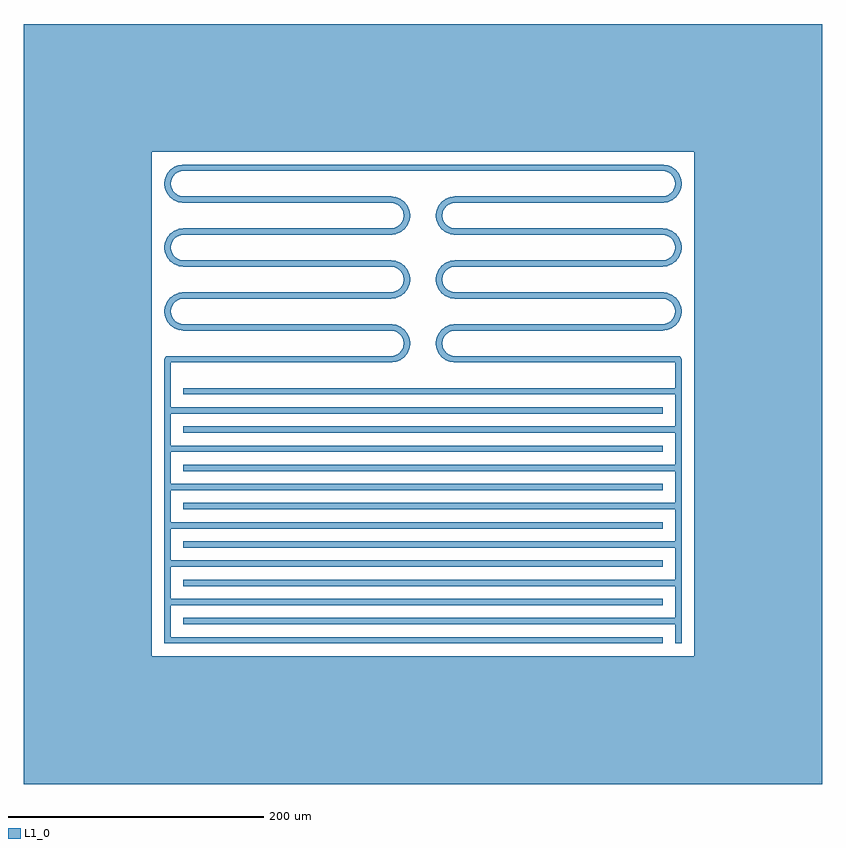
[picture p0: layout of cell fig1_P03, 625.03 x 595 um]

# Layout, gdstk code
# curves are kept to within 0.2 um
import gdstk
lib = gdstk.Library(unit=1e-6, precision=1e-09)
def R(c, l, rs):  # rectangles x0, y0, x1, y1
    for r in rs: c.add(gdstk.rectangle(r[:2], r[2:], *l))
def A(c, l, x, y, w, h, nx, ny, dx, dy):  # array of equal rectangles
    R(c, l, [(x+i*dx, y+j*dy, x+i*dx+w, y+j*dy+h) for i in range(nx) for j in range(ny)])
def P(c, l, *ps):  # polygons
    for p in ps: c.add(gdstk.Polygon(p, *l))
L1_0 = (1, 0)

fig1_p03 = lib.new_cell('fig1_P03')
A(fig1_p03, L1_0, -202.515, 0, 390.03, 5, 1, 7, 0, 30)
A(fig1_p03, L1_0, -187.515, 15, 390.03, 5, 1, 7, 0, 30)
A(fig1_p03, L1_0, -187.515, 245, 162.515, 5, 1, 5, 0, 25)
A(fig1_p03, L1_0, 25, 245, 162.515, 5, 1, 5, 0, 25)
R(fig1_p03, L1_0, [(-312.515,-110,312.515,-10), (-312.515,-10,-212.515,385), (212.515,-10,312.515,385), (-202.515,0,-197.515,200), (197.515,0,202.515,200), (-202.515,197.5,-197.515,222.5), (197.515,197.5,202.515,222.5), (-200.015,220,-25,225), (25,220,200.015,225), (-187.515,370,187.515,375), (-312.515,385,312.515,485)])
P(fig1_p03, L1_0, [(14.979,334.674),(10.021,335.326),(10.447,338.562),(15.405,337.909)],
  [(12.926,335.735),(11.158,336.467),(10.426,338.235),(11.158,340.003),(12.926,340.735),(14.694,340.003),(15.426,338.235),(14.694,336.467)],
  [(12.5,332.5),(10.732,333.232),(10,335),(10.732,336.768),(12.5,337.5),(14.268,336.768),(15,335),(14.268,333.232)],
  [(195.287,347.191),(192.243,351.158),(194.832,353.145),(197.876,349.178)],
  [(191.707,345.616),(189.794,350.236),(192.808,351.484),(194.722,346.865)],
  [(187.841,345.021),(187.189,349.979),(190.424,350.405),(191.077,345.447)],
  [(190.424,369.595),(187.189,370.021),(187.841,374.979),(191.077,374.553)],
  [(192.808,368.516),(189.794,369.764),(191.707,374.384),(194.722,373.135)],
  [(194.832,366.855),(192.243,368.842),(195.287,372.809),(197.876,370.822)],
  [(196.357,364.728),(194.37,367.317),(198.337,370.361),(200.324,367.772)],
  [(197.279,362.279),(196.031,365.293),(200.65,367.207),(201.899,364.192)],
  [(197.536,359.674),(197.11,362.909),(202.068,363.562),(202.494,360.326)],
  [(202.068,356.438),(197.11,357.091),(197.536,360.326),(202.494,359.674)],
  [(187.515,370),(185.747,370.732),(185.015,372.5),(185.747,374.268),(187.515,375),(189.283,374.268),(190.015,372.5),(189.283,370.732)],
  [(190.75,369.574),(188.982,370.306),(188.25,372.074),(188.982,373.842),(190.75,374.574),(192.518,373.842),(193.25,372.074),(192.518,370.306)],
  [(193.765,368.325),(191.997,369.058),(191.265,370.825),(191.997,372.593),(193.765,373.325),(195.533,372.593),(196.265,370.825),(195.533,369.058)],
  [(196.354,366.339),(194.586,367.071),(193.854,368.839),(194.586,370.607),(196.354,371.339),(198.122,370.607),(198.854,368.839),(198.122,367.071)],
  [(198.34,363.75),(196.573,364.482),(195.84,366.25),(196.573,368.018),(198.34,368.75),(200.108,368.018),(200.84,366.25),(200.108,364.482)],
  [(199.589,360.735),(197.821,361.467),(197.089,363.235),(197.821,365.003),(199.589,365.735),(201.357,365.003),(202.089,363.235),(201.357,361.467)],
  [(200.015,357.5),(198.247,358.232),(197.515,360),(198.247,361.768),(200.015,362.5),(201.783,361.768),(202.515,360),(201.783,358.232)],
  [(199.589,354.265),(197.821,354.997),(197.089,356.765),(197.821,358.533),(199.589,359.265),(201.357,358.533),(202.089,356.765),(201.357,354.997)],
  [(198.34,351.25),(196.573,351.982),(195.84,353.75),(196.573,355.518),(198.34,356.25),(200.108,355.518),(200.84,353.75),(200.108,351.982)],
  [(196.354,348.661),(194.586,349.393),(193.854,351.161),(194.586,352.929),(196.354,353.661),(198.122,352.929),(198.854,351.161),(198.122,349.393)],
  [(193.765,346.675),(191.997,347.407),(191.265,349.175),(191.997,350.942),(193.765,351.675),(195.533,350.942),(196.265,349.175),(195.533,347.407)],
  [(190.75,345.426),(188.982,346.158),(188.25,347.926),(188.982,349.694),(190.75,350.426),(192.518,349.694),(193.25,347.926),(192.518,346.158)],
  [(187.515,345),(185.747,345.732),(185.015,347.5),(185.747,349.268),(187.515,350),(189.283,349.268),(190.015,347.5),(189.283,345.732)],
  [(200.65,352.793),(196.031,354.707),(197.279,357.721),(201.899,355.808)],
  [(198.337,349.639),(194.37,352.683),(196.357,355.272),(200.324,352.228)],
  [(19.707,343.516),(17.793,348.135),(20.808,349.384),(22.721,344.764)],
  [(17.683,341.855),(14.639,345.822),(17.228,347.809),(20.272,343.842)],
  [(16.158,339.728),(12.191,342.772),(14.178,345.361),(18.145,342.317)],
  [(25,345),(23.232,345.732),(22.5,347.5),(23.232,349.268),(25,350),(26.768,349.268),(27.5,347.5),(26.768,345.732)],
  [(21.765,344.574),(19.997,345.306),(19.265,347.074),(19.997,348.842),(21.765,349.574),(23.533,348.842),(24.265,347.074),(23.533,345.306)],
  [(18.75,343.325),(16.982,344.058),(16.25,345.825),(16.982,347.593),(18.75,348.325),(20.518,347.593),(21.25,345.825),(20.518,344.058)],
  [(16.161,341.339),(14.393,342.071),(13.661,343.839),(14.393,345.607),(16.161,346.339),(17.929,345.607),(18.661,343.839),(17.929,342.071)],
  [(14.175,338.75),(12.407,339.482),(11.675,341.25),(12.407,343.018),(14.175,343.75),(15.942,343.018),(16.675,341.25),(15.942,339.482)],
  [(15.236,337.279),(10.616,339.192),(11.865,342.207),(16.484,340.293)],
  [(22.091,344.595),(21.438,349.553),(24.674,349.979),(25.326,345.021)],
  [(16.158,239.728),(12.191,242.772),(14.178,245.361),(18.145,242.317)],
  [(15.236,237.279),(10.616,239.192),(11.865,242.207),(16.484,240.293)],
  [(14.979,234.674),(10.021,235.326),(10.447,238.562),(15.405,237.909)],
  [(10.447,231.438),(10.021,234.674),(14.979,235.326),(15.405,232.091)],
  [(11.865,227.793),(10.616,230.808),(15.236,232.721),(16.484,229.707)],
  [(14.178,224.639),(12.191,227.228),(16.158,230.272),(18.145,227.683)],
  [(17.228,222.191),(14.639,224.178),(17.683,228.145),(20.272,226.158)],
  [(20.808,220.616),(17.793,221.865),(19.707,226.484),(22.721,225.236)],
  [(24.674,220.021),(21.438,220.447),(22.091,225.405),(25.326,224.979)],
  [(20.808,320.616),(17.793,321.865),(19.707,326.484),(22.721,325.236)],
  [(24.674,320.021),(21.438,320.447),(22.091,325.405),(25.326,324.979)],
  [(10.447,331.438),(10.021,334.674),(14.979,335.326),(15.405,332.091)],
  [(11.865,327.793),(10.616,330.808),(15.236,332.721),(16.484,329.707)],
  [(22.091,294.595),(21.438,299.553),(24.674,299.979),(25.326,295.021)],
  [(19.707,293.516),(17.793,298.135),(20.808,299.384),(22.721,294.764)],
  [(17.683,291.855),(14.639,295.822),(17.228,297.809),(20.272,293.842)],
  [(16.158,289.728),(12.191,292.772),(14.178,295.361),(18.145,292.317)],
  [(15.236,287.279),(10.616,289.192),(11.865,292.207),(16.484,290.293)],
  [(14.979,284.674),(10.021,285.326),(10.447,288.562),(15.405,287.909)],
  [(10.447,281.438),(10.021,284.674),(14.979,285.326),(15.405,282.091)],
  [(11.865,277.793),(10.616,280.808),(15.236,282.721),(16.484,279.707)],
  [(14.178,274.639),(12.191,277.228),(16.158,280.272),(18.145,277.683)],
  [(17.228,272.191),(14.639,274.178),(17.683,278.145),(20.272,276.158)],
  [(20.808,270.616),(17.793,271.865),(19.707,276.484),(22.721,275.236)],
  [(24.674,270.021),(21.438,270.447),(22.091,275.405),(25.326,274.979)],
  [(14.178,324.639),(12.191,327.228),(16.158,330.272),(18.145,327.683)],
  [(17.228,322.191),(14.639,324.178),(17.683,328.145),(20.272,326.158)],
  [(22.091,244.595),(21.438,249.553),(24.674,249.979),(25.326,245.021)],
  [(19.707,243.516),(17.793,248.135),(20.808,249.384),(22.721,244.764)],
  [(17.683,241.855),(14.639,245.822),(17.228,247.809),(20.272,243.842)],
  [(12.926,329.265),(11.158,329.997),(10.426,331.765),(11.158,333.533),(12.926,334.265),(14.694,333.533),(15.426,331.765),(14.694,329.997)],
  [(14.175,326.25),(12.407,326.982),(11.675,328.75),(12.407,330.518),(14.175,331.25),(15.942,330.518),(16.675,328.75),(15.942,326.982)],
  [(16.161,323.661),(14.393,324.393),(13.661,326.161),(14.393,327.929),(16.161,328.661),(17.929,327.929),(18.661,326.161),(17.929,324.393)],
  [(18.75,321.675),(16.982,322.407),(16.25,324.175),(16.982,325.942),(18.75,326.675),(20.518,325.942),(21.25,324.175),(20.518,322.407)],
  [(21.765,320.426),(19.997,321.158),(19.265,322.926),(19.997,324.694),(21.765,325.426),(23.533,324.694),(24.265,322.926),(23.533,321.158)],
  [(25,320),(23.232,320.732),(22.5,322.5),(23.232,324.268),(25,325),(26.768,324.268),(27.5,322.5),(26.768,320.732)],
  [(25,295),(23.232,295.732),(22.5,297.5),(23.232,299.268),(25,300),(26.768,299.268),(27.5,297.5),(26.768,295.732)],
  [(21.765,294.574),(19.997,295.306),(19.265,297.074),(19.997,298.842),(21.765,299.574),(23.533,298.842),(24.265,297.074),(23.533,295.306)],
  [(18.75,293.325),(16.982,294.058),(16.25,295.825),(16.982,297.593),(18.75,298.325),(20.518,297.593),(21.25,295.825),(20.518,294.058)],
  [(16.161,291.339),(14.393,292.071),(13.661,293.839),(14.393,295.607),(16.161,296.339),(17.929,295.607),(18.661,293.839),(17.929,292.071)],
  [(14.175,288.75),(12.407,289.482),(11.675,291.25),(12.407,293.018),(14.175,293.75),(15.942,293.018),(16.675,291.25),(15.942,289.482)],
  [(12.926,285.735),(11.158,286.467),(10.426,288.235),(11.158,290.003),(12.926,290.735),(14.694,290.003),(15.426,288.235),(14.694,286.467)],
  [(12.5,282.5),(10.732,283.232),(10,285),(10.732,286.768),(12.5,287.5),(14.268,286.768),(15,285),(14.268,283.232)],
  [(12.926,279.265),(11.158,279.997),(10.426,281.765),(11.158,283.533),(12.926,284.265),(14.694,283.533),(15.426,281.765),(14.694,279.997)],
  [(14.175,276.25),(12.407,276.982),(11.675,278.75),(12.407,280.518),(14.175,281.25),(15.942,280.518),(16.675,278.75),(15.942,276.982)],
  [(16.161,273.661),(14.393,274.393),(13.661,276.161),(14.393,277.929),(16.161,278.661),(17.929,277.929),(18.661,276.161),(17.929,274.393)],
  [(18.75,271.675),(16.982,272.407),(16.25,274.175),(16.982,275.942),(18.75,276.675),(20.518,275.942),(21.25,274.175),(20.518,272.407)],
  [(21.765,270.426),(19.997,271.158),(19.265,272.926),(19.997,274.694),(21.765,275.426),(23.533,274.694),(24.265,272.926),(23.533,271.158)],
  [(25,270),(23.232,270.732),(22.5,272.5),(23.232,274.268),(25,275),(26.768,274.268),(27.5,272.5),(26.768,270.732)],
  [(25,245),(23.232,245.732),(22.5,247.5),(23.232,249.268),(25,250),(26.768,249.268),(27.5,247.5),(26.768,245.732)],
  [(21.765,244.574),(19.997,245.306),(19.265,247.074),(19.997,248.842),(21.765,249.574),(23.533,248.842),(24.265,247.074),(23.533,245.306)],
  [(18.75,243.325),(16.982,244.058),(16.25,245.825),(16.982,247.593),(18.75,248.325),(20.518,247.593),(21.25,245.825),(20.518,244.058)],
  [(16.161,241.339),(14.393,242.071),(13.661,243.839),(14.393,245.607),(16.161,246.339),(17.929,245.607),(18.661,243.839),(17.929,242.071)],
  [(14.175,238.75),(12.407,239.482),(11.675,241.25),(12.407,243.018),(14.175,243.75),(15.942,243.018),(16.675,241.25),(15.942,239.482)],
  [(12.926,235.735),(11.158,236.467),(10.426,238.235),(11.158,240.003),(12.926,240.735),(14.694,240.003),(15.426,238.235),(14.694,236.467)],
  [(12.5,232.5),(10.732,233.232),(10,235),(10.732,236.768),(12.5,237.5),(14.268,236.768),(15,235),(14.268,233.232)],
  [(12.926,229.265),(11.158,229.997),(10.426,231.765),(11.158,233.533),(12.926,234.265),(14.694,233.533),(15.426,231.765),(14.694,229.997)],
  [(14.175,226.25),(12.407,226.982),(11.675,228.75),(12.407,230.518),(14.175,231.25),(15.942,230.518),(16.675,228.75),(15.942,226.982)],
  [(16.161,223.661),(14.393,224.393),(13.661,226.161),(14.393,227.929),(16.161,228.661),(17.929,227.929),(18.661,226.161),(17.929,224.393)],
  [(18.75,221.675),(16.982,222.407),(16.25,224.175),(16.982,225.942),(18.75,226.675),(20.518,225.942),(21.25,224.175),(20.518,222.407)],
  [(21.765,220.426),(19.997,221.158),(19.265,222.926),(19.997,224.694),(21.765,225.426),(23.533,224.694),(24.265,222.926),(23.533,221.158)],
  [(25,220),(23.232,220.732),(22.5,222.5),(23.232,224.268),(25,225),(26.768,224.268),(27.5,222.5),(26.768,220.732)],
  [(190.75,319.574),(188.982,320.306),(188.25,322.074),(188.982,323.842),(190.75,324.574),(192.518,323.842),(193.25,322.074),(192.518,320.306)],
  [(193.765,318.325),(191.997,319.058),(191.265,320.825),(191.997,322.593),(193.765,323.325),(195.533,322.593),(196.265,320.825),(195.533,319.058)],
  [(196.354,316.339),(194.586,317.071),(193.854,318.839),(194.586,320.607),(196.354,321.339),(198.122,320.607),(198.854,318.839),(198.122,317.071)],
  [(198.34,313.75),(196.573,314.482),(195.84,316.25),(196.573,318.018),(198.34,318.75),(200.108,318.018),(200.84,316.25),(200.108,314.482)],
  [(199.589,310.735),(197.821,311.467),(197.089,313.235),(197.821,315.003),(199.589,315.735),(201.357,315.003),(202.089,313.235),(201.357,311.467)],
  [(200.015,307.5),(198.247,308.232),(197.515,310),(198.247,311.768),(200.015,312.5),(201.783,311.768),(202.515,310),(201.783,308.232)],
  [(199.589,304.265),(197.821,304.997),(197.089,306.765),(197.821,308.533),(199.589,309.265),(201.357,308.533),(202.089,306.765),(201.357,304.997)],
  [(198.34,301.25),(196.573,301.982),(195.84,303.75),(196.573,305.518),(198.34,306.25),(200.108,305.518),(200.84,303.75),(200.108,301.982)],
  [(196.354,298.661),(194.586,299.393),(193.854,301.161),(194.586,302.929),(196.354,303.661),(198.122,302.929),(198.854,301.161),(198.122,299.393)],
  [(193.765,296.675),(191.997,297.407),(191.265,299.175),(191.997,300.942),(193.765,301.675),(195.533,300.942),(196.265,299.175),(195.533,297.407)],
  [(190.75,295.426),(188.982,296.158),(188.25,297.926),(188.982,299.694),(190.75,300.426),(192.518,299.694),(193.25,297.926),(192.518,296.158)],
  [(187.515,295),(185.747,295.732),(185.015,297.5),(185.747,299.268),(187.515,300),(189.283,299.268),(190.015,297.5),(189.283,295.732)],
  [(194.832,266.855),(192.243,268.842),(195.287,272.809),(197.876,270.822)],
  [(196.357,264.728),(194.37,267.317),(198.337,270.361),(200.324,267.772)],
  [(197.279,262.279),(196.031,265.293),(200.65,267.207),(201.899,264.192)],
  [(197.536,259.674),(197.11,262.909),(202.068,263.562),(202.494,260.326)],
  [(202.068,256.438),(197.11,257.091),(197.536,260.326),(202.494,259.674)],
  [(200.65,252.793),(196.031,254.707),(197.279,257.721),(201.899,255.808)],
  [(198.337,249.639),(194.37,252.683),(196.357,255.272),(200.324,252.228)],
  [(195.287,247.191),(192.243,251.158),(194.832,253.145),(197.876,249.178)],
  [(191.707,245.616),(189.794,250.236),(192.808,251.484),(194.722,246.865)],
  [(187.841,245.021),(187.189,249.979),(190.424,250.405),(191.077,245.447)],
  [(190.424,319.595),(187.189,320.021),(187.841,324.979),(191.077,324.553)],
  [(192.808,318.516),(189.794,319.764),(191.707,324.384),(194.722,323.135)],
  [(194.832,316.855),(192.243,318.842),(195.287,322.809),(197.876,320.822)],
  [(187.515,270),(185.747,270.732),(185.015,272.5),(185.747,274.268),(187.515,275),(189.283,274.268),(190.015,272.5),(189.283,270.732)],
  [(190.75,269.574),(188.982,270.306),(188.25,272.074),(188.982,273.842),(190.75,274.574),(192.518,273.842),(193.25,272.074),(192.518,270.306)],
  [(193.765,268.325),(191.997,269.058),(191.265,270.825),(191.997,272.593),(193.765,273.325),(195.533,272.593),(196.265,270.825),(195.533,269.058)],
  [(196.354,266.339),(194.586,267.071),(193.854,268.839),(194.586,270.607),(196.354,271.339),(198.122,270.607),(198.854,268.839),(198.122,267.071)],
  [(198.34,263.75),(196.573,264.482),(195.84,266.25),(196.573,268.018),(198.34,268.75),(200.108,268.018),(200.84,266.25),(200.108,264.482)],
  [(199.589,260.735),(197.821,261.467),(197.089,263.235),(197.821,265.003),(199.589,265.735),(201.357,265.003),(202.089,263.235),(201.357,261.467)],
  [(200.015,257.5),(198.247,258.232),(197.515,260),(198.247,261.768),(200.015,262.5),(201.783,261.768),(202.515,260),(201.783,258.232)],
  [(199.589,254.265),(197.821,254.997),(197.089,256.765),(197.821,258.533),(199.589,259.265),(201.357,258.533),(202.089,256.765),(201.357,254.997)],
  [(198.34,251.25),(196.573,251.982),(195.84,253.75),(196.573,255.518),(198.34,256.25),(200.108,255.518),(200.84,253.75),(200.108,251.982)],
  [(196.354,248.661),(194.586,249.393),(193.854,251.161),(194.586,252.929),(196.354,253.661),(198.122,252.929),(198.854,251.161),(198.122,249.393)],
  [(193.765,246.675),(191.997,247.407),(191.265,249.175),(191.997,250.942),(193.765,251.675),(195.533,250.942),(196.265,249.175),(195.533,247.407)],
  [(190.75,245.426),(188.982,246.158),(188.25,247.926),(188.982,249.694),(190.75,250.426),(192.518,249.694),(193.25,247.926),(192.518,246.158)],
  [(187.515,245),(185.747,245.732),(185.015,247.5),(185.747,249.268),(187.515,250),(189.283,249.268),(190.015,247.5),(189.283,245.732)],
  [(196.357,314.728),(194.37,317.317),(198.337,320.361),(200.324,317.772)],
  [(197.279,312.279),(196.031,315.293),(200.65,317.207),(201.899,314.192)],
  [(197.536,309.674),(197.11,312.909),(202.068,313.562),(202.494,310.326)],
  [(202.068,306.438),(197.11,307.091),(197.536,310.326),(202.494,309.674)],
  [(200.65,302.793),(196.031,304.707),(197.279,307.721),(201.899,305.808)],
  [(198.337,299.639),(194.37,302.683),(196.357,305.272),(200.324,302.228)],
  [(195.287,297.191),(192.243,301.158),(194.832,303.145),(197.876,299.178)],
  [(191.707,295.616),(189.794,300.236),(192.808,301.484),(194.722,296.865)],
  [(187.841,295.021),(187.189,299.979),(190.424,300.405),(191.077,295.447)],
  [(190.424,269.595),(187.189,270.021),(187.841,274.979),(191.077,274.553)],
  [(192.808,268.516),(189.794,269.764),(191.707,274.384),(194.722,273.135)],
  [(187.515,320),(185.747,320.732),(185.015,322.5),(185.747,324.268),(187.515,325),(189.283,324.268),(190.015,322.5),(189.283,320.732)],
  [(200.015,220),(198.247,220.732),(197.515,222.5),(198.247,224.268),(200.015,225),(201.783,224.268),(202.515,222.5),(201.783,220.732)],
  [(-12.5,332.5),(-14.268,333.232),(-15,335),(-14.268,336.768),(-12.5,337.5),(-10.732,336.768),(-10,335),(-10.732,333.232)],
  [(-12.926,335.735),(-14.694,336.467),(-15.426,338.235),(-14.694,340.003),(-12.926,340.735),(-11.158,340.003),(-10.426,338.235),(-11.158,336.467)],
  [(-14.979,334.674),(-15.405,337.909),(-10.447,338.562),(-10.021,335.326)],
  [(-18.75,343.325),(-20.518,344.058),(-21.25,345.825),(-20.518,347.593),(-18.75,348.325),(-16.982,347.593),(-16.25,345.825),(-16.982,344.058)],
  [(-21.765,344.574),(-23.533,345.306),(-24.265,347.074),(-23.533,348.842),(-21.765,349.574),(-19.997,348.842),(-19.265,347.074),(-19.997,345.306)],
  [(-25,345),(-26.768,345.732),(-27.5,347.5),(-26.768,349.268),(-25,350),(-23.232,349.268),(-22.5,347.5),(-23.232,345.732)],
  [(-14.175,338.75),(-15.942,339.482),(-16.675,341.25),(-15.942,343.018),(-14.175,343.75),(-12.407,343.018),(-11.675,341.25),(-12.407,339.482)],
  [(-15.236,337.279),(-16.484,340.293),(-11.865,342.207),(-10.616,339.192)],
  [(-16.158,339.728),(-18.145,342.317),(-14.178,345.361),(-12.191,342.772)],
  [(-17.683,341.855),(-20.272,343.842),(-17.228,347.809),(-14.639,345.822)],
  [(-19.707,343.516),(-22.721,344.764),(-20.808,349.384),(-17.793,348.135)],
  [(-22.091,344.595),(-25.326,345.021),(-24.674,349.979),(-21.438,349.553)],
  [(-16.161,341.339),(-17.929,342.071),(-18.661,343.839),(-17.929,345.607),(-16.161,346.339),(-14.393,345.607),(-13.661,343.839),(-14.393,342.071)],
  [(-187.515,370),(-189.283,370.732),(-190.015,372.5),(-189.283,374.268),(-187.515,375),(-185.747,374.268),(-185.015,372.5),(-185.747,370.732)],
  [(-187.515,345),(-189.283,345.732),(-190.015,347.5),(-189.283,349.268),(-187.515,350),(-185.747,349.268),(-185.015,347.5),(-185.747,345.732)],
  [(-190.75,345.426),(-192.518,346.158),(-193.25,347.926),(-192.518,349.694),(-190.75,350.426),(-188.982,349.694),(-188.25,347.926),(-188.982,346.158)],
  [(-193.765,346.675),(-195.533,347.407),(-196.265,349.175),(-195.533,350.942),(-193.765,351.675),(-191.997,350.942),(-191.265,349.175),(-191.997,347.407)],
  [(-196.354,348.661),(-198.122,349.393),(-198.854,351.161),(-198.122,352.929),(-196.354,353.661),(-194.586,352.929),(-193.854,351.161),(-194.586,349.393)],
  [(-198.34,351.25),(-200.108,351.982),(-200.84,353.75),(-200.108,355.518),(-198.34,356.25),(-196.573,355.518),(-195.84,353.75),(-196.573,351.982)],
  [(-199.589,354.265),(-201.357,354.997),(-202.089,356.765),(-201.357,358.533),(-199.589,359.265),(-197.821,358.533),(-197.089,356.765),(-197.821,354.997)],
  [(-200.015,357.5),(-201.783,358.232),(-202.515,360),(-201.783,361.768),(-200.015,362.5),(-198.247,361.768),(-197.515,360),(-198.247,358.232)],
  [(-199.589,360.735),(-201.357,361.467),(-202.089,363.235),(-201.357,365.003),(-199.589,365.735),(-197.821,365.003),(-197.089,363.235),(-197.821,361.467)],
  [(-198.34,363.75),(-200.108,364.482),(-200.84,366.25),(-200.108,368.018),(-198.34,368.75),(-196.573,368.018),(-195.84,366.25),(-196.573,364.482)],
  [(-196.354,366.339),(-198.122,367.071),(-198.854,368.839),(-198.122,370.607),(-196.354,371.339),(-194.586,370.607),(-193.854,368.839),(-194.586,367.071)],
  [(-193.765,368.325),(-195.533,369.058),(-196.265,370.825),(-195.533,372.593),(-193.765,373.325),(-191.997,372.593),(-191.265,370.825),(-191.997,369.058)],
  [(-190.75,369.574),(-192.518,370.306),(-193.25,372.074),(-192.518,373.842),(-190.75,374.574),(-188.982,373.842),(-188.25,372.074),(-188.982,370.306)],
  [(-187.841,345.021),(-191.077,345.447),(-190.424,350.405),(-187.189,349.979)],
  [(-191.707,345.616),(-194.722,346.865),(-192.808,351.484),(-189.794,350.236)],
  [(-195.287,347.191),(-197.876,349.178),(-194.832,353.145),(-192.243,351.158)],
  [(-198.337,349.639),(-200.324,352.228),(-196.357,355.272),(-194.37,352.683)],
  [(-200.65,352.793),(-201.899,355.808),(-197.279,357.721),(-196.031,354.707)],
  [(-202.068,356.438),(-202.494,359.674),(-197.536,360.326),(-197.11,357.091)],
  [(-197.536,359.674),(-202.494,360.326),(-202.068,363.562),(-197.11,362.909)],
  [(-197.279,362.279),(-201.899,364.192),(-200.65,367.207),(-196.031,365.293)],
  [(-196.357,364.728),(-200.324,367.772),(-198.337,370.361),(-194.37,367.317)],
  [(-194.832,366.855),(-197.876,370.822),(-195.287,372.809),(-192.243,368.842)],
  [(-192.808,368.516),(-194.722,373.135),(-191.707,374.384),(-189.794,369.764)],
  [(-190.424,369.595),(-191.077,374.553),(-187.841,374.979),(-187.189,370.021)],
  [(-196.354,298.661),(-198.122,299.393),(-198.854,301.161),(-198.122,302.929),(-196.354,303.661),(-194.586,302.929),(-193.854,301.161),(-194.586,299.393)],
  [(-198.34,301.25),(-200.108,301.982),(-200.84,303.75),(-200.108,305.518),(-198.34,306.25),(-196.573,305.518),(-195.84,303.75),(-196.573,301.982)],
  [(-199.589,304.265),(-201.357,304.997),(-202.089,306.765),(-201.357,308.533),(-199.589,309.265),(-197.821,308.533),(-197.089,306.765),(-197.821,304.997)],
  [(-200.015,307.5),(-201.783,308.232),(-202.515,310),(-201.783,311.768),(-200.015,312.5),(-198.247,311.768),(-197.515,310),(-198.247,308.232)],
  [(-199.589,310.735),(-201.357,311.467),(-202.089,313.235),(-201.357,315.003),(-199.589,315.735),(-197.821,315.003),(-197.089,313.235),(-197.821,311.467)],
  [(-187.841,245.021),(-191.077,245.447),(-190.424,250.405),(-187.189,249.979)],
  [(-191.707,245.616),(-194.722,246.865),(-192.808,251.484),(-189.794,250.236)],
  [(-195.287,247.191),(-197.876,249.178),(-194.832,253.145),(-192.243,251.158)],
  [(-198.337,249.639),(-200.324,252.228),(-196.357,255.272),(-194.37,252.683)],
  [(-200.65,252.793),(-201.899,255.808),(-197.279,257.721),(-196.031,254.707)],
  [(-202.068,256.438),(-202.494,259.674),(-197.536,260.326),(-197.11,257.091)],
  [(-197.536,259.674),(-202.494,260.326),(-202.068,263.562),(-197.11,262.909)],
  [(-197.279,262.279),(-201.899,264.192),(-200.65,267.207),(-196.031,265.293)],
  [(-196.357,264.728),(-200.324,267.772),(-198.337,270.361),(-194.37,267.317)],
  [(-194.832,266.855),(-197.876,270.822),(-195.287,272.809),(-192.243,268.842)],
  [(-192.808,268.516),(-194.722,273.135),(-191.707,274.384),(-189.794,269.764)],
  [(-190.424,269.595),(-191.077,274.553),(-187.841,274.979),(-187.189,270.021)],
  [(-198.34,313.75),(-200.108,314.482),(-200.84,316.25),(-200.108,318.018),(-198.34,318.75),(-196.573,318.018),(-195.84,316.25),(-196.573,314.482)],
  [(-196.354,316.339),(-198.122,317.071),(-198.854,318.839),(-198.122,320.607),(-196.354,321.339),(-194.586,320.607),(-193.854,318.839),(-194.586,317.071)],
  [(-187.841,295.021),(-191.077,295.447),(-190.424,300.405),(-187.189,299.979)],
  [(-191.707,295.616),(-194.722,296.865),(-192.808,301.484),(-189.794,300.236)],
  [(-195.287,297.191),(-197.876,299.178),(-194.832,303.145),(-192.243,301.158)],
  [(-198.337,299.639),(-200.324,302.228),(-196.357,305.272),(-194.37,302.683)],
  [(-200.65,302.793),(-201.899,305.808),(-197.279,307.721),(-196.031,304.707)],
  [(-202.068,306.438),(-202.494,309.674),(-197.536,310.326),(-197.11,307.091)],
  [(-197.536,309.674),(-202.494,310.326),(-202.068,313.562),(-197.11,312.909)],
  [(-197.279,312.279),(-201.899,314.192),(-200.65,317.207),(-196.031,315.293)],
  [(-196.357,314.728),(-200.324,317.772),(-198.337,320.361),(-194.37,317.317)],
  [(-194.832,316.855),(-197.876,320.822),(-195.287,322.809),(-192.243,318.842)],
  [(-192.808,318.516),(-194.722,323.135),(-191.707,324.384),(-189.794,319.764)],
  [(-190.424,319.595),(-191.077,324.553),(-187.841,324.979),(-187.189,320.021)],
  [(-193.765,318.325),(-195.533,319.058),(-196.265,320.825),(-195.533,322.593),(-193.765,323.325),(-191.997,322.593),(-191.265,320.825),(-191.997,319.058)],
  [(-190.75,319.574),(-192.518,320.306),(-193.25,322.074),(-192.518,323.842),(-190.75,324.574),(-188.982,323.842),(-188.25,322.074),(-188.982,320.306)],
  [(-187.515,320),(-189.283,320.732),(-190.015,322.5),(-189.283,324.268),(-187.515,325),(-185.747,324.268),(-185.015,322.5),(-185.747,320.732)],
  [(-200.015,220),(-201.783,220.732),(-202.515,222.5),(-201.783,224.268),(-200.015,225),(-198.247,224.268),(-197.515,222.5),(-198.247,220.732)],
  [(-187.515,245),(-189.283,245.732),(-190.015,247.5),(-189.283,249.268),(-187.515,250),(-185.747,249.268),(-185.015,247.5),(-185.747,245.732)],
  [(-190.75,245.426),(-192.518,246.158),(-193.25,247.926),(-192.518,249.694),(-190.75,250.426),(-188.982,249.694),(-188.25,247.926),(-188.982,246.158)],
  [(-193.765,246.675),(-195.533,247.407),(-196.265,249.175),(-195.533,250.942),(-193.765,251.675),(-191.997,250.942),(-191.265,249.175),(-191.997,247.407)],
  [(-196.354,248.661),(-198.122,249.393),(-198.854,251.161),(-198.122,252.929),(-196.354,253.661),(-194.586,252.929),(-193.854,251.161),(-194.586,249.393)],
  [(-198.34,251.25),(-200.108,251.982),(-200.84,253.75),(-200.108,255.518),(-198.34,256.25),(-196.573,255.518),(-195.84,253.75),(-196.573,251.982)],
  [(-199.589,254.265),(-201.357,254.997),(-202.089,256.765),(-201.357,258.533),(-199.589,259.265),(-197.821,258.533),(-197.089,256.765),(-197.821,254.997)],
  [(-200.015,257.5),(-201.783,258.232),(-202.515,260),(-201.783,261.768),(-200.015,262.5),(-198.247,261.768),(-197.515,260),(-198.247,258.232)],
  [(-199.589,260.735),(-201.357,261.467),(-202.089,263.235),(-201.357,265.003),(-199.589,265.735),(-197.821,265.003),(-197.089,263.235),(-197.821,261.467)],
  [(-198.34,263.75),(-200.108,264.482),(-200.84,266.25),(-200.108,268.018),(-198.34,268.75),(-196.573,268.018),(-195.84,266.25),(-196.573,264.482)],
  [(-196.354,266.339),(-198.122,267.071),(-198.854,268.839),(-198.122,270.607),(-196.354,271.339),(-194.586,270.607),(-193.854,268.839),(-194.586,267.071)],
  [(-193.765,268.325),(-195.533,269.058),(-196.265,270.825),(-195.533,272.593),(-193.765,273.325),(-191.997,272.593),(-191.265,270.825),(-191.997,269.058)],
  [(-190.75,269.574),(-192.518,270.306),(-193.25,272.074),(-192.518,273.842),(-190.75,274.574),(-188.982,273.842),(-188.25,272.074),(-188.982,270.306)],
  [(-187.515,270),(-189.283,270.732),(-190.015,272.5),(-189.283,274.268),(-187.515,275),(-185.747,274.268),(-185.015,272.5),(-185.747,270.732)],
  [(-187.515,295),(-189.283,295.732),(-190.015,297.5),(-189.283,299.268),(-187.515,300),(-185.747,299.268),(-185.015,297.5),(-185.747,295.732)],
  [(-190.75,295.426),(-192.518,296.158),(-193.25,297.926),(-192.518,299.694),(-190.75,300.426),(-188.982,299.694),(-188.25,297.926),(-188.982,296.158)],
  [(-193.765,296.675),(-195.533,297.407),(-196.265,299.175),(-195.533,300.942),(-193.765,301.675),(-191.997,300.942),(-191.265,299.175),(-191.997,297.407)],
  [(-25,245),(-26.768,245.732),(-27.5,247.5),(-26.768,249.268),(-25,250),(-23.232,249.268),(-22.5,247.5),(-23.232,245.732)],
  [(-25,320),(-26.768,320.732),(-27.5,322.5),(-26.768,324.268),(-25,325),(-23.232,324.268),(-22.5,322.5),(-23.232,320.732)],
  [(-21.765,320.426),(-23.533,321.158),(-24.265,322.926),(-23.533,324.694),(-21.765,325.426),(-19.997,324.694),(-19.265,322.926),(-19.997,321.158)],
  [(-18.75,321.675),(-20.518,322.407),(-21.25,324.175),(-20.518,325.942),(-18.75,326.675),(-16.982,325.942),(-16.25,324.175),(-16.982,322.407)],
  [(-16.161,323.661),(-17.929,324.393),(-18.661,326.161),(-17.929,327.929),(-16.161,328.661),(-14.393,327.929),(-13.661,326.161),(-14.393,324.393)],
  [(-14.175,326.25),(-15.942,326.982),(-16.675,328.75),(-15.942,330.518),(-14.175,331.25),(-12.407,330.518),(-11.675,328.75),(-12.407,326.982)],
  [(-12.926,329.265),(-14.694,329.997),(-15.426,331.765),(-14.694,333.533),(-12.926,334.265),(-11.158,333.533),(-10.426,331.765),(-11.158,329.997)],
  [(-25,270),(-26.768,270.732),(-27.5,272.5),(-26.768,274.268),(-25,275),(-23.232,274.268),(-22.5,272.5),(-23.232,270.732)],
  [(-21.765,270.426),(-23.533,271.158),(-24.265,272.926),(-23.533,274.694),(-21.765,275.426),(-19.997,274.694),(-19.265,272.926),(-19.997,271.158)],
  [(-18.75,271.675),(-20.518,272.407),(-21.25,274.175),(-20.518,275.942),(-18.75,276.675),(-16.982,275.942),(-16.25,274.175),(-16.982,272.407)],
  [(-16.161,273.661),(-17.929,274.393),(-18.661,276.161),(-17.929,277.929),(-16.161,278.661),(-14.393,277.929),(-13.661,276.161),(-14.393,274.393)],
  [(-24.674,270.021),(-25.326,274.979),(-22.091,275.405),(-21.438,270.447)],
  [(-20.808,270.616),(-22.721,275.236),(-19.707,276.484),(-17.793,271.865)],
  [(-17.228,272.191),(-20.272,276.158),(-17.683,278.145),(-14.639,274.178)],
  [(-14.178,274.639),(-18.145,277.683),(-16.158,280.272),(-12.191,277.228)],
  [(-11.865,277.793),(-16.484,279.707),(-15.236,282.721),(-10.616,280.808)],
  [(-10.447,281.438),(-15.405,282.091),(-14.979,285.326),(-10.021,284.674)],
  [(-14.979,284.674),(-15.405,287.909),(-10.447,288.562),(-10.021,285.326)],
  [(-15.236,287.279),(-16.484,290.293),(-11.865,292.207),(-10.616,289.192)],
  [(-16.158,289.728),(-18.145,292.317),(-14.178,295.361),(-12.191,292.772)],
  [(-17.683,291.855),(-20.272,293.842),(-17.228,297.809),(-14.639,295.822)],
  [(-19.707,293.516),(-22.721,294.764),(-20.808,299.384),(-17.793,298.135)],
  [(-22.091,294.595),(-25.326,295.021),(-24.674,299.979),(-21.438,299.553)],
  [(-14.175,276.25),(-15.942,276.982),(-16.675,278.75),(-15.942,280.518),(-14.175,281.25),(-12.407,280.518),(-11.675,278.75),(-12.407,276.982)],
  [(-12.926,279.265),(-14.694,279.997),(-15.426,281.765),(-14.694,283.533),(-12.926,284.265),(-11.158,283.533),(-10.426,281.765),(-11.158,279.997)],
  [(-12.5,282.5),(-14.268,283.232),(-15,285),(-14.268,286.768),(-12.5,287.5),(-10.732,286.768),(-10,285),(-10.732,283.232)],
  [(-12.926,285.735),(-14.694,286.467),(-15.426,288.235),(-14.694,290.003),(-12.926,290.735),(-11.158,290.003),(-10.426,288.235),(-11.158,286.467)],
  [(-14.175,288.75),(-15.942,289.482),(-16.675,291.25),(-15.942,293.018),(-14.175,293.75),(-12.407,293.018),(-11.675,291.25),(-12.407,289.482)],
  [(-16.161,291.339),(-17.929,292.071),(-18.661,293.839),(-17.929,295.607),(-16.161,296.339),(-14.393,295.607),(-13.661,293.839),(-14.393,292.071)],
  [(-18.75,293.325),(-20.518,294.058),(-21.25,295.825),(-20.518,297.593),(-18.75,298.325),(-16.982,297.593),(-16.25,295.825),(-16.982,294.058)],
  [(-21.765,294.574),(-23.533,295.306),(-24.265,297.074),(-23.533,298.842),(-21.765,299.574),(-19.997,298.842),(-19.265,297.074),(-19.997,295.306)],
  [(-25,295),(-26.768,295.732),(-27.5,297.5),(-26.768,299.268),(-25,300),(-23.232,299.268),(-22.5,297.5),(-23.232,295.732)],
  [(-25,220),(-26.768,220.732),(-27.5,222.5),(-26.768,224.268),(-25,225),(-23.232,224.268),(-22.5,222.5),(-23.232,220.732)],
  [(-21.765,220.426),(-23.533,221.158),(-24.265,222.926),(-23.533,224.694),(-21.765,225.426),(-19.997,224.694),(-19.265,222.926),(-19.997,221.158)],
  [(-18.75,221.675),(-20.518,222.407),(-21.25,224.175),(-20.518,225.942),(-18.75,226.675),(-16.982,225.942),(-16.25,224.175),(-16.982,222.407)],
  [(-16.161,223.661),(-17.929,224.393),(-18.661,226.161),(-17.929,227.929),(-16.161,228.661),(-14.393,227.929),(-13.661,226.161),(-14.393,224.393)],
  [(-14.175,226.25),(-15.942,226.982),(-16.675,228.75),(-15.942,230.518),(-14.175,231.25),(-12.407,230.518),(-11.675,228.75),(-12.407,226.982)],
  [(-24.674,320.021),(-25.326,324.979),(-22.091,325.405),(-21.438,320.447)],
  [(-20.808,320.616),(-22.721,325.236),(-19.707,326.484),(-17.793,321.865)],
  [(-17.228,322.191),(-20.272,326.158),(-17.683,328.145),(-14.639,324.178)],
  [(-14.178,324.639),(-18.145,327.683),(-16.158,330.272),(-12.191,327.228)],
  [(-11.865,327.793),(-16.484,329.707),(-15.236,332.721),(-10.616,330.808)],
  [(-10.447,331.438),(-15.405,332.091),(-14.979,335.326),(-10.021,334.674)],
  [(-12.926,229.265),(-14.694,229.997),(-15.426,231.765),(-14.694,233.533),(-12.926,234.265),(-11.158,233.533),(-10.426,231.765),(-11.158,229.997)],
  [(-12.5,232.5),(-14.268,233.232),(-15,235),(-14.268,236.768),(-12.5,237.5),(-10.732,236.768),(-10,235),(-10.732,233.232)],
  [(-12.926,235.735),(-14.694,236.467),(-15.426,238.235),(-14.694,240.003),(-12.926,240.735),(-11.158,240.003),(-10.426,238.235),(-11.158,236.467)],
  [(-14.175,238.75),(-15.942,239.482),(-16.675,241.25),(-15.942,243.018),(-14.175,243.75),(-12.407,243.018),(-11.675,241.25),(-12.407,239.482)],
  [(-24.674,220.021),(-25.326,224.979),(-22.091,225.405),(-21.438,220.447)],
  [(-20.808,220.616),(-22.721,225.236),(-19.707,226.484),(-17.793,221.865)],
  [(-17.228,222.191),(-20.272,226.158),(-17.683,228.145),(-14.639,224.178)],
  [(-14.178,224.639),(-18.145,227.683),(-16.158,230.272),(-12.191,227.228)],
  [(-11.865,227.793),(-16.484,229.707),(-15.236,232.721),(-10.616,230.808)],
  [(-10.447,231.438),(-15.405,232.091),(-14.979,235.326),(-10.021,234.674)],
  [(-14.979,234.674),(-15.405,237.909),(-10.447,238.562),(-10.021,235.326)],
  [(-15.236,237.279),(-16.484,240.293),(-11.865,242.207),(-10.616,239.192)],
  [(-16.158,239.728),(-18.145,242.317),(-14.178,245.361),(-12.191,242.772)],
  [(-17.683,241.855),(-20.272,243.842),(-17.228,247.809),(-14.639,245.822)],
  [(-19.707,243.516),(-22.721,244.764),(-20.808,249.384),(-17.793,248.135)],
  [(-22.091,244.595),(-25.326,245.021),(-24.674,249.979),(-21.438,249.553)],
  [(-16.161,241.339),(-17.929,242.071),(-18.661,243.839),(-17.929,245.607),(-16.161,246.339),(-14.393,245.607),(-13.661,243.839),(-14.393,242.071)],
  [(-18.75,243.325),(-20.518,244.058),(-21.25,245.825),(-20.518,247.593),(-18.75,248.325),(-16.982,247.593),(-16.25,245.825),(-16.982,244.058)],
  [(-21.765,244.574),(-23.533,245.306),(-24.265,247.074),(-23.533,248.842),(-21.765,249.574),(-19.997,248.842),(-19.265,247.074),(-19.997,245.306)])

lib.write_gds('fig1_P03.gds')
